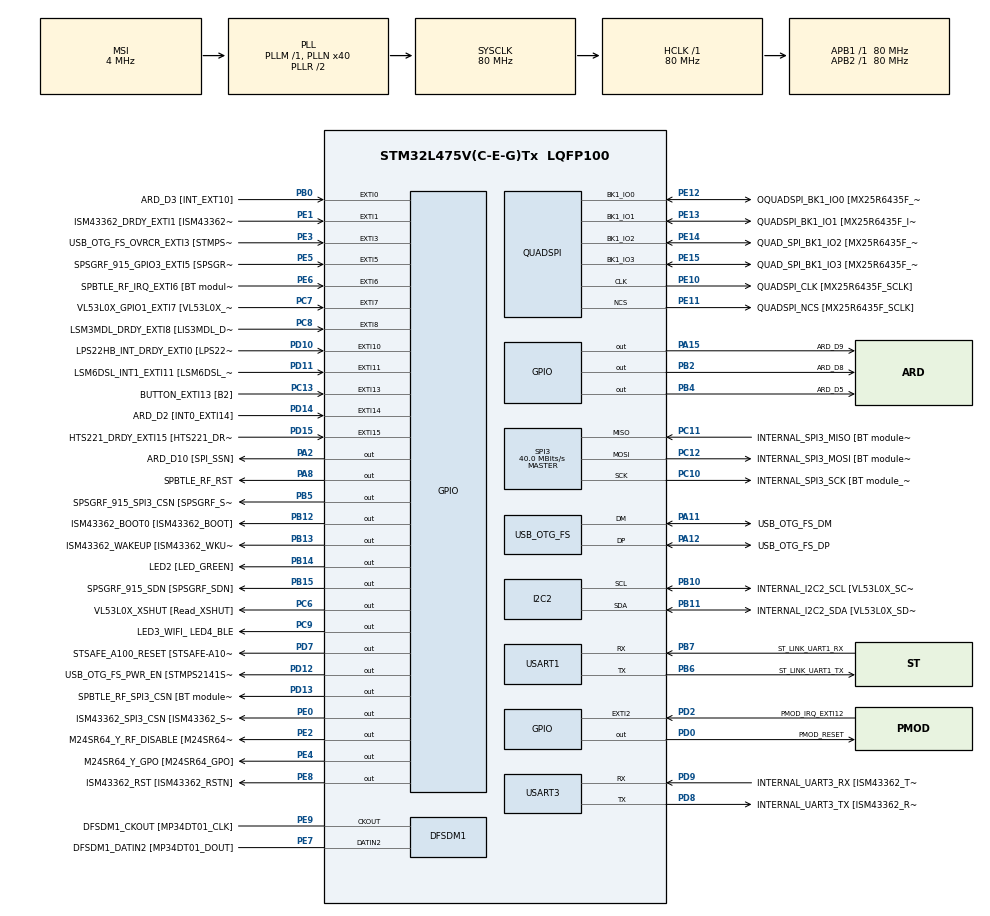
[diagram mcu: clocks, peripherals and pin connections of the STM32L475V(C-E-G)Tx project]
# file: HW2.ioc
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Mcu.Family=STM32L4
Mcu.Name=STM32L475V(C-E-G)Tx
Mcu.Package=LQFP100
NVIC.EXTI15_10_IRQn=true\:0\:0\:false\:false\:true\:true\:true\:true
NVIC.EXTI9_5_IRQn=true\:0\:0\:false\:false\:true\:true\:true\:true
NVIC.PriorityGroup=NVIC_PRIORITYGROUP_4
PA0.GPIO_Label=ARD_D1 [UART4_TX]
PA0.Signal=UART4_TX
PA1.GPIO_Label=ARD_D0 [UART4_RX]
PA1.Signal=UART4_RX
PA10.GPIO_Label=USB_OTG_FS_ID
PA10.Signal=USB_OTG_FS_ID
PA11.GPIO_Label=USB_OTG_FS_DM
PA11.Mode=Device_Only
PA11.Signal=USB_OTG_FS_DM
PA12.GPIO_Label=USB_OTG_FS_DP
PA12.Mode=Device_Only
PA12.Signal=USB_OTG_FS_DP
PA13\ (JTMS-SWDIO).GPIO_Label=SYS_JTMS_SWDIO
PA13\ (JTMS-SWDIO).Mode=Serial_Wire
PA13\ (JTMS-SWDIO).Signal=SYS_JTMS-SWDIO
PA14\ (JTCK-SWCLK).GPIO_Label=SYS_JTCK_SWCLK
PA14\ (JTCK-SWCLK).Mode=Serial_Wire
PA14\ (JTCK-SWCLK).Signal=SYS_JTCK-SWCLK
PA15\ (JTDI).GPIO_Label=ARD_D9
PA15\ (JTDI).Signal=GPIO_Output
PA2.GPIO_Label=ARD_D10 [SPI_SSN]
PA2.Signal=GPIO_Output
PA3.GPIO_Label=ARD_D4
PA3.Signal=S_TIM2_CH4
PA4.GPIO_Label=ARD_D7
PA4.Signal=ADCx_IN9
PA5.GPIO_Label=ARD_D13 [SPI1_SCK]
PA5.Signal=SPI1_SCK
PA6.GPIO_Label=ARD_D12 [SPI1_MISO]
PA6.Signal=SPI1_MISO
PA7.GPIO_Label=ARD_D11 [SPI1_MOSI]
PA7.Signal=SPI1_MOSI
PA8.GPIO_Label=SPBTLE_RF_RST
PA8.Signal=GPIO_Output
PA9.GPIO_Label=USB_OTG_FS_VBUS [STMPS2141STR_OUT]
PA9.Signal=USB_OTG_FS_VBUS
PB0.GPIO_Label=ARD_D3 [INT_EXT10]
PB0.Signal=GPXTI0
PB1.GPIO_Label=ARD_D6 [ADC1_IN6]
PB1.Signal=ADCx_IN16
PB10.GPIO_Label=INTERNAL_I2C2_SCL [VL53L0X_SCL]
PB10.GPIO_Pu=GPIO_PULLUP
PB10.Mode=I2C
PB10.Signal=I2C2_SCL
PB11.GPIO_Label=INTERNAL_I2C2_SDA [VL53L0X_SDA]
PB11.GPIO_Pu=GPIO_PULLUP
PB11.Mode=I2C
PB11.Signal=I2C2_SDA
PB12.GPIO_Label=ISM43362_BOOT0 [ISM43362_BOOT]
PB12.Signal=GPIO_Output
PB13.GPIO_Label=ISM43362_WAKEUP [ISM43362_WKUP]
PB13.Signal=GPIO_Output
PB14.GPIO_Label=LED2 [LED_GREEN]
PB14.Signal=GPIO_Output
PB15.GPIO_Label=SPSGRF_915_SDN [SPSGRF_SDN]
PB15.Signal=GPIO_Output
PB2.GPIO_Label=ARD_D8
PB2.Signal=GPIO_Output
PB3\ (JTDO-TRACESWO).GPIO_Label=SYS_JTD0_SWO
PB3\ (JTDO-TRACESWO).Signal=SYS_JTDO-SWO
PB4\ (NJTRST).GPIO_Label=ARD_D5
PB4\ (NJTRST).Signal=GPIO_Output
PB5.GPIO_Label=SPSGRF_915_SPI3_CSN [SPSGRF_SPI_CS]
PB5.PinState=GPIO_PIN_SET
PB5.Signal=GPIO_Output
PB6.GPIO_Label=ST_LINK_UART1_TX
PB6.Mode=Asynchronous
PB6.Signal=USART1_TX
PB7.GPIO_Label=ST_LINK_UART1_RX
PB7.Mode=Asynchronous
PB7.Signal=USART1_RX
PB8.GPIO_Label=ARD_D15 [I2C1_SCL]
PB8.Signal=I2C1_SCL
PB9.GPIO_Label=ARD_D14 [I2C1_SDA]
PB9.Signal=I2C1_SDA
PC0.GPIO_Label=ARD_A5 [ADC]
PC0.Signal=ADCx_IN1
PC1.GPIO_Label=ARD_A4 [ADC]
PC1.Signal=ADCx_IN2
PC10.GPIO_Label=INTERNAL_SPI3_SCK [BT module_SPI_SCLK] [ISM43362_SCK]
PC10.Mode=Full_Duplex_Master
PC10.Signal=SPI3_SCK
PC11.GPIO_Label=INTERNAL_SPI3_MISO [BT module_SPI_MISO] [ISM43362_MISO]
PC11.Mode=Full_Duplex_Master
PC11.Signal=SPI3_MISO
PC12.GPIO_Label=INTERNAL_SPI3_MOSI [BT module_SPI_MOSI] [ISM43362_MOSI]
PC12.Mode=Full_Duplex_Master
PC12.Signal=SPI3_MOSI
PC13.GPIO_Label=BUTTON_EXTI13 [B2]
PC13.GPIO_ModeDefaultEXTI=GPIO_MODE_IT_FALLING
PC13.Signal=GPXTI13
PC14-OSC32_IN\ (PC14).Mode=LSE-External-Oscillator
PC14-OSC32_IN\ (PC14).Signal=RCC_OSC32_IN
PC15-OSC32_OUT\ (PC15).Mode=LSE-External-Oscillator
PC15-OSC32_OUT\ (PC15).Signal=RCC_OSC32_OUT
PC2.GPIO_Label=ARD_A3 [ADC]
PC2.Signal=ADCx_IN3
PC3.GPIO_Label=ARD_A2 [ADC]
PC3.Signal=ADCx_IN4
PC4.GPIO_Label=ARD_A1 [ADC]
PC4.Signal=ADCx_IN13
PC5.GPIO_Label=ARD_A0 [ADC]
PC5.Signal=ADCx_IN14
PC6.GPIO_Label=VL53L0X_XSHUT [Read_XSHUT]
PC6.Signal=GPIO_Output
PC7.GPIO_Label=VL53L0X_GPIO1_EXTI7 [VL53L0X_GPIO1]
PC7.Signal=GPXTI7
PC8.GPIO_Label=LSM3MDL_DRDY_EXTI8 [LIS3MDL_DRDY]
PC8.Signal=GPXTI8
PC9.GPIO_Label=LED3_WIFI_ LED4_BLE
PC9.Signal=GPIO_Output
PD0.GPIO_Label=PMOD_RESET
PD0.Signal=GPIO_Output
PD1.GPIO_Label=PMOD_SPI2_SCK
PD1.Signal=SPI2_SCK
PD10.GPIO_Label=LPS22HB_INT_DRDY_EXTI0 [LPS22HB_INT_DRDY] 
PD10.Signal=GPXTI10
PD11.GPIO_Label=LSM6DSL_INT1_EXTI11 [LSM6DSL_INT1]
PD11.Signal=GPXTI11
PD12.GPIO_Label=USB_OTG_FS_PWR_EN [STMPS2141STR_EN]
PD12.Signal=GPIO_Output
PD13.GPIO_Label=SPBTLE_RF_SPI3_CSN [BT module_SPI_CS]
PD13.PinState=GPIO_PIN_SET
PD13.Signal=GPIO_Output
PD14.GPIO_Label=ARD_D2 [INT0_EXTI14]
PD14.Signal=GPXTI14
PD15.GPIO_Label=HTS221_DRDY_EXTI15 [HTS221_DRDY]
PD15.Signal=GPXTI15
PD2.GPIO_Label=PMOD_IRQ_EXTI12
PD2.Signal=GPXTI2
PD3.GPIO_Label=PMOD_UART2_CTS
PD3.Signal=USART2_CTS
PD4.GPIO_Label=PMOD_UART2_RTS
PD4.Signal=USART2_RTS
PD5.GPIO_Label=PMOD_UART2_TX
PD5.Signal=USART2_TX
PD6.GPIO_Label=PMOD_UART2_RX
PD6.Signal=USART2_RX
PD7.GPIO_Label=STSAFE_A100_RESET [STSAFE-A100_RESET]
PD7.Signal=GPIO_Output
PD8.GPIO_Label=INTERNAL_UART3_TX [ISM43362_RX]
PD8.Mode=Asynchronous
PD8.Signal=USART3_TX
PD9.GPIO_Label=INTERNAL_UART3_RX [ISM43362_TX]
PD9.Mode=Asynchronous
PD9.Signal=USART3_RX
PE0.GPIO_Label=ISM43362_SPI3_CSN [ISM43362_SSN]
PE0.PinState=GPIO_PIN_SET
PE0.Signal=GPIO_Output
PE1.GPIO_Label=ISM43362_DRDY_EXTI1 [ISM43362_DATARDY]
PE1.Signal=GPXTI1
PE10.GPIO_Label=QUADSPI_CLK [MX25R6435F_SCLK]
PE10.Mode=Single Bank
PE10.Signal=QUADSPI_CLK
PE11.GPIO_Label=QUADSPI_NCS [MX25R6435F_SCLK]
PE11.Mode=Single Bank
PE11.Signal=QUADSPI_NCS
PE12.GPIO_Label=OQUADSPI_BK1_IO0 [MX25R6435F_IO0]
PE12.Mode=Single Bank
PE12.Signal=QUADSPI_BK1_IO0
PE13.GPIO_Label=QUADSPI_BK1_IO1 [MX25R6435F_IO1]
PE13.Mode=Single Bank
PE13.Signal=QUADSPI_BK1_IO1
PE14.GPIO_Label=QUAD_SPI_BK1_IO2 [MX25R6435F_IO2]
PE14.Mode=Single Bank
PE14.Signal=QUADSPI_BK1_IO2
PE15.GPIO_Label=QUAD_SPI_BK1_IO3 [MX25R6435F_IO3]
PE15.Mode=Single Bank
PE15.Signal=QUADSPI_BK1_IO3
PE2.GPIO_Label=M24SR64_Y_RF_DISABLE [M24SR64_RFDIS]
PE2.Signal=GPIO_Output
PE3.GPIO_Label=USB_OTG_FS_OVRCR_EXTI3 [STMPS2141STR_FAULT]
PE3.Signal=GPXTI3
PE4.GPIO_Label=M24SR64_Y_GPO [M24SR64_GPO]
PE4.Signal=GPIO_Output
PE5.GPIO_Label=SPSGRF_915_GPIO3_EXTI5 [SPSGRF_GPIO_3]
PE5.Signal=GPXTI5
PE6.GPIO_Label=SPBTLE_RF_IRQ_EXTI6 [BT module_SPI_IRQ]
PE6.Signal=GPXTI6
PE7.GPIO_Label=DFSDM1_DATIN2 [MP34DT01_DOUT]
PE7.Signal=S_DATAIN2DFSDM1
PE8.GPIO_Label=ISM43362_RST [ISM43362_RSTN]
PE8.Signal=GPIO_Output
PE9.GPIO_Label=DFSDM1_CKOUT [MP34DT01_CLK]
PE9.Signal=S_CKOUTDFSDM1
ProjectManager.HeapSize=0x200
ProjectManager.StackSize=0x400
ProjectManager.TargetToolchain=STM32CubeIDE
QUADSPI.ClockPrescaler=2
QUADSPI.FifoThreshold=4
QUADSPI.FlashSize=23
QUADSPI.SampleShifting=QSPI_SAMPLE_SHIFTING_HALFCYCLE
RCC.ADCFreq_Value=48000000
RCC.AHBFreq_Value=80000000
RCC.APB1Freq_Value=80000000
RCC.APB1TimFreq_Value=80000000
RCC.APB2Freq_Value=80000000
RCC.APB2TimFreq_Value=80000000
RCC.CortexFreq_Value=80000000
RCC.HCLKFreq_Value=80000000
RCC.HSE_VALUE=8000000
RCC.HSI_VALUE=16000000
RCC.MSI_VALUE=4000000
RCC.PLLN=40
RCC.PLLSAI1N=24
RCC.SYSCLKFreq_VALUE=80000000
RCC.SYSCLKSource=RCC_SYSCLKSOURCE_PLLCLK
RCC.USBFreq_Value=48000000
RCC.VCOOutputFreq_Value=160000000
SH.ADCx_IN1.0=ADC1_IN1
SH.ADCx_IN13.0=ADC1_IN13
SH.ADCx_IN14.0=ADC1_IN14
SH.ADCx_IN16.0=ADC1_IN16
SH.ADCx_IN2.0=ADC1_IN2
SH.ADCx_IN3.0=ADC1_IN3
SH.ADCx_IN4.0=ADC1_IN4
SH.ADCx_IN9.0=ADC1_IN9
SH.S_CKOUTDFSDM1.0=DFSDM1_CKOUT,CKOUT
SH.S_CKOUTDFSDM1.1=DFSDM1_CKOUT,PDM_SPI_Input_from_ch12_and_Internal_Clock
SH.S_DATAIN2DFSDM1.0=DFSDM1_DATIN2,PDM_SPI_Input_from_ch12_and_Internal_Clock
SH.S_TIM2_CH4.0=TIM2_CH4
SPI3.CalculateBaudRate=40.0 MBits/s
SPI3.Direction=SPI_DIRECTION_2LINES
SPI3.Mode=SPI_MODE_MASTER
SPI3.VirtualType=VM_MASTER
USART1.VirtualMode-Asynchronous=VM_ASYNC
USART3.VirtualMode-Asynchronous=VM_ASYNC
USB_OTG_FS.VirtualMode=Device_Only
board=B-L475E-IOT01A2

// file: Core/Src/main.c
/* USER CODE BEGIN Header */
/**
  ******************************************************************************
  * @file           : main.c
  * @brief          : Main program body
  ******************************************************************************
  * @attention
  *
  * Copyright (c) 2023 STMicroelectronics.
  * All rights reserved.
  *
  * This software is licensed under terms that can be found in the LICENSE file
  * in the root directory of this software component.
  * If no LICENSE file comes with this software, it is provided AS-IS.
  *
  ******************************************************************************
  */
/* USER CODE END Header */
#include "main.h"

/* USER CODE BEGIN Includes */
#include <stdio.h>
#include <string.h>
/* USER CODE END Includes */

DFSDM_Channel_HandleTypeDef hdfsdm1_channel1;

I2C_HandleTypeDef hi2c2;

QSPI_HandleTypeDef hqspi;

SPI_HandleTypeDef hspi3;

UART_HandleTypeDef huart1;
UART_HandleTypeDef huart3;

PCD_HandleTypeDef hpcd_USB_OTG_FS;

/* USER CODE BEGIN PV */
uint8_t rx_flag = 0;
char in[1] = {0};
/* USER CODE END PV */

void SystemClock_Config(void);
static void MX_GPIO_Init(void);
static void MX_DFSDM1_Init(void);
static void MX_I2C2_Init(void);
static void MX_QUADSPI_Init(void);
static void MX_SPI3_Init(void);
static void MX_USART1_UART_Init(void);
static void MX_USART3_UART_Init(void);
static void MX_USB_OTG_FS_PCD_Init(void);

/* USER CODE BEGIN 0 */

void logMsg(UART_HandleTypeDef *huart, char _out[])
{
	HAL_UART_Transmit(&huart1, (uint8_t*) _out, strlen(_out), timeout);
}

void logGetMsg(UART_HandleTypeDef *huart)
{
	HAL_UART_Receive(&huart1, (uint8_t*) in, 1, timeout);
}

/* USER CODE END 0 */

int main(void)
{

  /* MCU Configuration--------------------------------------------------------*/

  /* Reset of all peripherals, Initializes the Flash interface and the Systick. */
  HAL_Init();

  /* Configure the system clock */
  SystemClock_Config();

  /* Initialize all configured peripherals */
  MX_GPIO_Init();
  MX_DFSDM1_Init();
  MX_I2C2_Init();
  MX_QUADSPI_Init();
  MX_SPI3_Init();
  MX_USART1_UART_Init();
  MX_USART3_UART_Init();
  MX_USB_OTG_FS_PCD_Init();
  /* USER CODE BEGIN 2 */
  logMsg(&huart1, "welcome to Embedded controller programming \r\n");

  logMsg(&huart1, "Enter g for toggling Green LED \r\n");

  logMsg(&huart1, "Enter b for toggling Blue LED \r\n");

  logMsg(&huart1, "Enter t to change timeout value to 1 ms \r\n");

  /* USER CODE END 2 */

  /* Infinite loop */
  while (1)
  {

    /* USER CODE BEGIN 3 */
	logGetMsg(&huart1);
	char buf[100];

	if(in[0] == 'g')
	{
		snprintf(buf, sizeof(buf), "Received char %c\r\n", in[0]);
		logMsg(&huart1, buf);
		HAL_GPIO_TogglePin(LED2_GPIO_Port, LED2_Pin);
		// HAL_Delay(1000);
		HAL_Delay(10);
	}
	else if(in[0] == 'b')
	{
		snprintf(buf, sizeof(buf), "Received char %c\r\n", in[0]);
		logMsg(&huart1, buf);
		HAL_GPIO_TogglePin(LED3_WIFI__LED4_BLE_GPIO_Port, LED3_WIFI__LED4_BLE_Pin);
		// HAL_Delay(1000);
		HAL_Delay(10);
	}
	else if(in[0] == 't')
	{
		snprintf(buf, sizeof(buf), "Received char %c\r\n", in[0]);
		logMsg(&huart1, buf);
		timeout = 1;
	}
	else
	{
		if(in[0] != 0)
			logMsg(&huart1, "unknown character received\r\n");
	}
	// Reset it to 0
	in[0] = 0;
  }
  /* USER CODE END 3 */
}

void SystemClock_Config(void)
{
  RCC_OscInitTypeDef RCC_OscInitStruct = {0};
  RCC_ClkInitTypeDef RCC_ClkInitStruct = {0};

  /** Configure the main internal regulator output voltage
  */
  if (HAL_PWREx_ControlVoltageScaling(PWR_REGULATOR_VOLTAGE_SCALE1) != HAL_OK)
  {
    Error_Handler();
  }

  /** Configure LSE Drive Capability
  */
  HAL_PWR_EnableBkUpAccess();
  __HAL_RCC_LSEDRIVE_CONFIG(RCC_LSEDRIVE_LOW);

  /** Initializes the RCC Oscillators according to the specified parameters
  * in the RCC_OscInitTypeDef structure.
  */
  RCC_OscInitStruct.OscillatorType = RCC_OSCILLATORTYPE_LSE|RCC_OSCILLATORTYPE_MSI;
  RCC_OscInitStruct.LSEState = RCC_LSE_ON;
  RCC_OscInitStruct.MSIState = RCC_MSI_ON;
  RCC_OscInitStruct.MSICalibrationValue = 0;
  RCC_OscInitStruct.MSIClockRange = RCC_MSIRANGE_6;
  RCC_OscInitStruct.PLL.PLLState = RCC_PLL_ON;
  RCC_OscInitStruct.PLL.PLLSource = RCC_PLLSOURCE_MSI;
  RCC_OscInitStruct.PLL.PLLM = 1;
  RCC_OscInitStruct.PLL.PLLN = 40;
  RCC_OscInitStruct.PLL.PLLP = RCC_PLLP_DIV7;
  RCC_OscInitStruct.PLL.PLLQ = RCC_PLLQ_DIV2;
  RCC_OscInitStruct.PLL.PLLR = RCC_PLLR_DIV2;
  if (HAL_RCC_OscConfig(&RCC_OscInitStruct) != HAL_OK)
  {
    Error_Handler();
  }

  /** Initializes the CPU, AHB and APB buses clocks
  */
  RCC_ClkInitStruct.ClockType = RCC_CLOCKTYPE_HCLK|RCC_CLOCKTYPE_SYSCLK
                              |RCC_CLOCKTYPE_PCLK1|RCC_CLOCKTYPE_PCLK2;
  RCC_ClkInitStruct.SYSCLKSource = RCC_SYSCLKSOURCE_PLLCLK;
  RCC_ClkInitStruct.AHBCLKDivider = RCC_SYSCLK_DIV1;
  RCC_ClkInitStruct.APB1CLKDivider = RCC_HCLK_DIV1;
  RCC_ClkInitStruct.APB2CLKDivider = RCC_HCLK_DIV1;

  if (HAL_RCC_ClockConfig(&RCC_ClkInitStruct, FLASH_LATENCY_4) != HAL_OK)
  {
    Error_Handler();
  }

  /** Enable MSI Auto calibration
  */
  HAL_RCCEx_EnableMSIPLLMode();
}

static void MX_DFSDM1_Init(void)
{

  hdfsdm1_channel1.Instance = DFSDM1_Channel1;
  hdfsdm1_channel1.Init.OutputClock.Activation = ENABLE;
  hdfsdm1_channel1.Init.OutputClock.Selection = DFSDM_CHANNEL_OUTPUT_CLOCK_SYSTEM;
  hdfsdm1_channel1.Init.OutputClock.Divider = 2;
  hdfsdm1_channel1.Init.Input.Multiplexer = DFSDM_CHANNEL_EXTERNAL_INPUTS;
  hdfsdm1_channel1.Init.Input.DataPacking = DFSDM_CHANNEL_STANDARD_MODE;
  hdfsdm1_channel1.Init.Input.Pins = DFSDM_CHANNEL_FOLLOWING_CHANNEL_PINS;
  hdfsdm1_channel1.Init.SerialInterface.Type = DFSDM_CHANNEL_SPI_RISING;
  hdfsdm1_channel1.Init.SerialInterface.SpiClock = DFSDM_CHANNEL_SPI_CLOCK_INTERNAL;
  hdfsdm1_channel1.Init.Awd.FilterOrder = DFSDM_CHANNEL_FASTSINC_ORDER;
  hdfsdm1_channel1.Init.Awd.Oversampling = 1;
  hdfsdm1_channel1.Init.Offset = 0;
  hdfsdm1_channel1.Init.RightBitShift = 0x00;
  if (HAL_DFSDM_ChannelInit(&hdfsdm1_channel1) != HAL_OK)
  {
    Error_Handler();
  }

}

static void MX_I2C2_Init(void)
{

  hi2c2.Instance = I2C2;
  hi2c2.Init.Timing = 0x00000E14;
  hi2c2.Init.OwnAddress1 = 0;
  hi2c2.Init.AddressingMode = I2C_ADDRESSINGMODE_7BIT;
  hi2c2.Init.DualAddressMode = I2C_DUALADDRESS_DISABLE;
  hi2c2.Init.OwnAddress2 = 0;
  hi2c2.Init.OwnAddress2Masks = I2C_OA2_NOMASK;
  hi2c2.Init.GeneralCallMode = I2C_GENERALCALL_DISABLE;
  hi2c2.Init.NoStretchMode = I2C_NOSTRETCH_DISABLE;
  if (HAL_I2C_Init(&hi2c2) != HAL_OK)
  {
    Error_Handler();
  }

  /** Configure Analogue filter
  */
  if (HAL_I2CEx_ConfigAnalogFilter(&hi2c2, I2C_ANALOGFILTER_ENABLE) != HAL_OK)
  {
    Error_Handler();
  }

  /** Configure Digital filter
  */
  if (HAL_I2CEx_ConfigDigitalFilter(&hi2c2, 0) != HAL_OK)
  {
    Error_Handler();
  }

}

static void MX_QUADSPI_Init(void)
{

  /* QUADSPI parameter configuration*/
  hqspi.Instance = QUADSPI;
  hqspi.Init.ClockPrescaler = 2;
  hqspi.Init.FifoThreshold = 4;
  hqspi.Init.SampleShifting = QSPI_SAMPLE_SHIFTING_HALFCYCLE;
  hqspi.Init.FlashSize = 23;
  hqspi.Init.ChipSelectHighTime = QSPI_CS_HIGH_TIME_1_CYCLE;
  hqspi.Init.ClockMode = QSPI_CLOCK_MODE_0;
  if (HAL_QSPI_Init(&hqspi) != HAL_OK)
  {
    Error_Handler();
  }

}

static void MX_SPI3_Init(void)
{

  /* SPI3 parameter configuration*/
  hspi3.Instance = SPI3;
  hspi3.Init.Mode = SPI_MODE_MASTER;
  hspi3.Init.Direction = SPI_DIRECTION_2LINES;
  hspi3.Init.DataSize = SPI_DATASIZE_4BIT;
  hspi3.Init.CLKPolarity = SPI_POLARITY_LOW;
  hspi3.Init.CLKPhase = SPI_PHASE_1EDGE;
  hspi3.Init.NSS = SPI_NSS_SOFT;
  hspi3.Init.BaudRatePrescaler = SPI_BAUDRATEPRESCALER_2;
  hspi3.Init.FirstBit = SPI_FIRSTBIT_MSB;
  hspi3.Init.TIMode = SPI_TIMODE_DISABLE;
  hspi3.Init.CRCCalculation = SPI_CRCCALCULATION_DISABLE;
  hspi3.Init.CRCPolynomial = 7;
  hspi3.Init.CRCLength = SPI_CRC_LENGTH_DATASIZE;
  hspi3.Init.NSSPMode = SPI_NSS_PULSE_ENABLE;
  if (HAL_SPI_Init(&hspi3) != HAL_OK)
  {
    Error_Handler();
  }

}

static void MX_USART1_UART_Init(void)
{

  huart1.Instance = USART1;
  huart1.Init.BaudRate = 115200;
  huart1.Init.WordLength = UART_WORDLENGTH_8B;
  huart1.Init.StopBits = UART_STOPBITS_1;
  huart1.Init.Parity = UART_PARITY_NONE;
  huart1.Init.Mode = UART_MODE_TX_RX;
  huart1.Init.HwFlowCtl = UART_HWCONTROL_NONE;
  huart1.Init.OverSampling = UART_OVERSAMPLING_16;
  huart1.Init.OneBitSampling = UART_ONE_BIT_SAMPLE_DISABLE;
  huart1.AdvancedInit.AdvFeatureInit = UART_ADVFEATURE_NO_INIT;
  if (HAL_UART_Init(&huart1) != HAL_OK)
  {
    Error_Handler();
  }

}

static void MX_USART3_UART_Init(void)
{

  huart3.Instance = USART3;
  huart3.Init.BaudRate = 115200;
  huart3.Init.WordLength = UART_WORDLENGTH_8B;
  huart3.Init.StopBits = UART_STOPBITS_1;
  huart3.Init.Parity = UART_PARITY_NONE;
  huart3.Init.Mode = UART_MODE_TX_RX;
  huart3.Init.HwFlowCtl = UART_HWCONTROL_NONE;
  huart3.Init.OverSampling = UART_OVERSAMPLING_16;
  huart3.Init.OneBitSampling = UART_ONE_BIT_SAMPLE_DISABLE;
  huart3.AdvancedInit.AdvFeatureInit = UART_ADVFEATURE_NO_INIT;
  if (HAL_UART_Init(&huart3) != HAL_OK)
  {
    Error_Handler();
  }

}

static void MX_USB_OTG_FS_PCD_Init(void)
{

  hpcd_USB_OTG_FS.Instance = USB_OTG_FS;
  hpcd_USB_OTG_FS.Init.dev_endpoints = 6;
  hpcd_USB_OTG_FS.Init.speed = PCD_SPEED_FULL;
  hpcd_USB_OTG_FS.Init.phy_itface = PCD_PHY_EMBEDDED;
  hpcd_USB_OTG_FS.Init.Sof_enable = DISABLE;
  hpcd_USB_OTG_FS.Init.low_power_enable = DISABLE;
  hpcd_USB_OTG_FS.Init.lpm_enable = DISABLE;
  hpcd_USB_OTG_FS.Init.battery_charging_enable = DISABLE;
  hpcd_USB_OTG_FS.Init.use_dedicated_ep1 = DISABLE;
  hpcd_USB_OTG_FS.Init.vbus_sensing_enable = DISABLE;
  if (HAL_PCD_Init(&hpcd_USB_OTG_FS) != HAL_OK)
  {
    Error_Handler();
  }

}

static void MX_GPIO_Init(void)
{
  GPIO_InitTypeDef GPIO_InitStruct = {0};

  /* GPIO Ports Clock Enable */
  __HAL_RCC_GPIOE_CLK_ENABLE();
  __HAL_RCC_GPIOC_CLK_ENABLE();
  __HAL_RCC_GPIOA_CLK_ENABLE();
  __HAL_RCC_GPIOB_CLK_ENABLE();
  __HAL_RCC_GPIOD_CLK_ENABLE();

  /*Configure GPIO pin Output Level */
  HAL_GPIO_WritePin(GPIOE, M24SR64_Y_RF_DISABLE_Pin|M24SR64_Y_GPO_Pin|ISM43362_RST_Pin, GPIO_PIN_RESET);

  /*Configure GPIO pin Output Level */
  HAL_GPIO_WritePin(GPIOA, ARD_D10_Pin|SPBTLE_RF_RST_Pin|ARD_D9_Pin, GPIO_PIN_RESET);

  /*Configure GPIO pin Output Level */
  HAL_GPIO_WritePin(GPIOB, ARD_D8_Pin|ISM43362_BOOT0_Pin|ISM43362_WAKEUP_Pin|LED2_Pin
                          |SPSGRF_915_SDN_Pin|ARD_D5_Pin, GPIO_PIN_RESET);

  /*Configure GPIO pin Output Level */
  HAL_GPIO_WritePin(GPIOD, USB_OTG_FS_PWR_EN_Pin|PMOD_RESET_Pin|STSAFE_A100_RESET_Pin, GPIO_PIN_RESET);

  /*Configure GPIO pin Output Level */
  HAL_GPIO_WritePin(SPBTLE_RF_SPI3_CSN_GPIO_Port, SPBTLE_RF_SPI3_CSN_Pin, GPIO_PIN_SET);

  /*Configure GPIO pin Output Level */
  HAL_GPIO_WritePin(GPIOC, VL53L0X_XSHUT_Pin|LED3_WIFI__LED4_BLE_Pin, GPIO_PIN_RESET);

  /*Configure GPIO pin Output Level */
  HAL_GPIO_WritePin(SPSGRF_915_SPI3_CSN_GPIO_Port, SPSGRF_915_SPI3_CSN_Pin, GPIO_PIN_SET);

  /*Configure GPIO pin Output Level */
  HAL_GPIO_WritePin(ISM43362_SPI3_CSN_GPIO_Port, ISM43362_SPI3_CSN_Pin, GPIO_PIN_SET);

  /*Configure GPIO pins : M24SR64_Y_RF_DISABLE_Pin M24SR64_Y_GPO_Pin ISM43362_RST_Pin ISM43362_SPI3_CSN_Pin */
  GPIO_InitStruct.Pin = M24SR64_Y_RF_DISABLE_Pin|M24SR64_Y_GPO_Pin|ISM43362_RST_Pin|ISM43362_SPI3_CSN_Pin;
  GPIO_InitStruct.Mode = GPIO_MODE_OUTPUT_PP;
  GPIO_InitStruct.Pull = GPIO_NOPULL;
  GPIO_InitStruct.Speed = GPIO_SPEED_FREQ_LOW;
  HAL_GPIO_Init(GPIOE, &GPIO_InitStruct);

  /*Configure GPIO pins : USB_OTG_FS_OVRCR_EXTI3_Pin SPSGRF_915_GPIO3_EXTI5_Pin SPBTLE_RF_IRQ_EXTI6_Pin ISM43362_DRDY_EXTI1_Pin */
  GPIO_InitStruct.Pin = USB_OTG_FS_OVRCR_EXTI3_Pin|SPSGRF_915_GPIO3_EXTI5_Pin|SPBTLE_RF_IRQ_EXTI6_Pin|ISM43362_DRDY_EXTI1_Pin;
  GPIO_InitStruct.Mode = GPIO_MODE_IT_RISING;
  GPIO_InitStruct.Pull = GPIO_NOPULL;
  HAL_GPIO_Init(GPIOE, &GPIO_InitStruct);

  /*Configure GPIO pin : BUTTON_EXTI13_Pin */
  GPIO_InitStruct.Pin = BUTTON_EXTI13_Pin;
  GPIO_InitStruct.Mode = GPIO_MODE_IT_FALLING;
  GPIO_InitStruct.Pull = GPIO_NOPULL;
  HAL_GPIO_Init(BUTTON_EXTI13_GPIO_Port, &GPIO_InitStruct);

  /*Configure GPIO pins : ARD_A5_Pin ARD_A4_Pin ARD_A3_Pin ARD_A2_Pin
                           ARD_A1_Pin ARD_A0_Pin */
  GPIO_InitStruct.Pin = ARD_A5_Pin|ARD_A4_Pin|ARD_A3_Pin|ARD_A2_Pin
                          |ARD_A1_Pin|ARD_A0_Pin;
  GPIO_InitStruct.Mode = GPIO_MODE_ANALOG_ADC_CONTROL;
  GPIO_InitStruct.Pull = GPIO_NOPULL;
  HAL_GPIO_Init(GPIOC, &GPIO_InitStruct);

  /*Configure GPIO pins : ARD_D1_Pin ARD_D0_Pin */
  GPIO_InitStruct.Pin = ARD_D1_Pin|ARD_D0_Pin;
  GPIO_InitStruct.Mode = GPIO_MODE_AF_PP;
  GPIO_InitStruct.Pull = GPIO_NOPULL;
  GPIO_InitStruct.Speed = GPIO_SPEED_FREQ_VERY_HIGH;
  GPIO_InitStruct.Alternate = GPIO_AF8_UART4;
  HAL_GPIO_Init(GPIOA, &GPIO_InitStruct);

  /*Configure GPIO pins : ARD_D10_Pin SPBTLE_RF_RST_Pin ARD_D9_Pin */
  GPIO_InitStruct.Pin = ARD_D10_Pin|SPBTLE_RF_RST_Pin|ARD_D9_Pin;
  GPIO_InitStruct.Mode = GPIO_MODE_OUTPUT_PP;
  GPIO_InitStruct.Pull = GPIO_NOPULL;
  GPIO_InitStruct.Speed = GPIO_SPEED_FREQ_LOW;
  HAL_GPIO_Init(GPIOA, &GPIO_InitStruct);

  /*Configure GPIO pin : ARD_D4_Pin */
  GPIO_InitStruct.Pin = ARD_D4_Pin;
  GPIO_InitStruct.Mode = GPIO_MODE_AF_PP;
  GPIO_InitStruct.Pull = GPIO_NOPULL;
  GPIO_InitStruct.Speed = GPIO_SPEED_FREQ_LOW;
  GPIO_InitStruct.Alternate = GPIO_AF1_TIM2;
  HAL_GPIO_Init(ARD_D4_GPIO_Port, &GPIO_InitStruct);

  /*Configure GPIO pin : ARD_D7_Pin */
  GPIO_InitStruct.Pin = ARD_D7_Pin;
  GPIO_InitStruct.Mode = GPIO_MODE_ANALOG_ADC_CONTROL;
  GPIO_InitStruct.Pull = GPIO_NOPULL;
  HAL_GPIO_Init(ARD_D7_GPIO_Port, &GPIO_InitStruct);

  /*Configure GPIO pins : ARD_D13_Pin ARD_D12_Pin ARD_D11_Pin */
  GPIO_InitStruct.Pin = ARD_D13_Pin|ARD_D12_Pin|ARD_D11_Pin;
  GPIO_InitStruct.Mode = GPIO_MODE_AF_PP;
  GPIO_InitStruct.Pull = GPIO_NOPULL;
  GPIO_InitStruct.Speed = GPIO_SPEED_FREQ_VERY_HIGH;
  GPIO_InitStruct.Alternate = GPIO_AF5_SPI1;
  HAL_GPIO_Init(GPIOA, &GPIO_InitStruct);

  /*Configure GPIO pin : ARD_D3_Pin */
  GPIO_InitStruct.Pin = ARD_D3_Pin;
  GPIO_InitStruct.Mode = GPIO_MODE_IT_RISING;
  GPIO_InitStruct.Pull = GPIO_NOPULL;
  HAL_GPIO_Init(ARD_D3_GPIO_Port, &GPIO_InitStruct);

  /*Configure GPIO pin : ARD_D6_Pin */
  GPIO_InitStruct.Pin = ARD_D6_Pin;
  GPIO_InitStruct.Mode = GPIO_MODE_ANALOG_ADC_CONTROL;
  GPIO_InitStruct.Pull = GPIO_NOPULL;
  HAL_GPIO_Init(ARD_D6_GPIO_Port, &GPIO_InitStruct);

  /*Configure GPIO pins : ARD_D8_Pin ISM43362_BOOT0_Pin ISM43362_WAKEUP_Pin LED2_Pin
                           SPSGRF_915_SDN_Pin ARD_D5_Pin SPSGRF_915_SPI3_CSN_Pin */
  GPIO_InitStruct.Pin = ARD_D8_Pin|ISM43362_BOOT0_Pin|ISM43362_WAKEUP_Pin|LED2_Pin
                          |SPSGRF_915_SDN_Pin|ARD_D5_Pin|SPSGRF_915_SPI3_CSN_Pin;
  GPIO_InitStruct.Mode = GPIO_MODE_OUTPUT_PP;
  GPIO_InitStruct.Pull = GPIO_NOPULL;
  GPIO_InitStruct.Speed = GPIO_SPEED_FREQ_LOW;
  HAL_GPIO_Init(GPIOB, &GPIO_InitStruct);

  /*Configure GPIO pins : LPS22HB_INT_DRDY_EXTI0_Pin LSM6DSL_INT1_EXTI11_Pin ARD_D2_Pin HTS221_DRDY_EXTI15_Pin
                           PMOD_IRQ_EXTI12_Pin */
  GPIO_InitStruct.Pin = LPS22HB_INT_DRDY_EXTI0_Pin|LSM6DSL_INT1_EXTI11_Pin|ARD_D2_Pin|HTS221_DRDY_EXTI15_Pin
                          |PMOD_IRQ_EXTI12_Pin;
  GPIO_InitStruct.Mode = GPIO_MODE_IT_RISING;
  GPIO_InitStruct.Pull = GPIO_NOPULL;
  HAL_GPIO_Init(GPIOD, &GPIO_InitStruct);

  /*Configure GPIO pins : USB_OTG_FS_PWR_EN_Pin SPBTLE_RF_SPI3_CSN_Pin PMOD_RESET_Pin STSAFE_A100_RESET_Pin */
  GPIO_InitStruct.Pin = USB_OTG_FS_PWR_EN_Pin|SPBTLE_RF_SPI3_CSN_Pin|PMOD_RESET_Pin|STSAFE_A100_RESET_Pin;
  GPIO_InitStruct.Mode = GPIO_MODE_OUTPUT_PP;
  GPIO_InitStruct.Pull = GPIO_NOPULL;
  GPIO_InitStruct.Speed = GPIO_SPEED_FREQ_LOW;
  HAL_GPIO_Init(GPIOD, &GPIO_InitStruct);

  /*Configure GPIO pins : VL53L0X_XSHUT_Pin LED3_WIFI__LED4_BLE_Pin */
  GPIO_InitStruct.Pin = VL53L0X_XSHUT_Pin|LED3_WIFI__LED4_BLE_Pin;
  GPIO_InitStruct.Mode = GPIO_MODE_OUTPUT_PP;
  GPIO_InitStruct.Pull = GPIO_NOPULL;
  GPIO_InitStruct.Speed = GPIO_SPEED_FREQ_LOW;
  HAL_GPIO_Init(GPIOC, &GPIO_InitStruct);

  /*Configure GPIO pins : VL53L0X_GPIO1_EXTI7_Pin LSM3MDL_DRDY_EXTI8_Pin */
  GPIO_InitStruct.Pin = VL53L0X_GPIO1_EXTI7_Pin|LSM3MDL_DRDY_EXTI8_Pin;
  GPIO_InitStruct.Mode = GPIO_MODE_IT_RISING;
  GPIO_InitStruct.Pull = GPIO_NOPULL;
  HAL_GPIO_Init(GPIOC, &GPIO_InitStruct);

  /*Configure GPIO pin : PMOD_SPI2_SCK_Pin */
  GPIO_InitStruct.Pin = PMOD_SPI2_SCK_Pin;
  GPIO_InitStruct.Mode = GPIO_MODE_AF_PP;
  GPIO_InitStruct.Pull = GPIO_NOPULL;
  GPIO_InitStruct.Speed = GPIO_SPEED_FREQ_VERY_HIGH;
  GPIO_InitStruct.Alternate = GPIO_AF5_SPI2;
  HAL_GPIO_Init(PMOD_SPI2_SCK_GPIO_Port, &GPIO_InitStruct);

  /*Configure GPIO pins : PMOD_UART2_CTS_Pin PMOD_UART2_RTS_Pin PMOD_UART2_TX_Pin PMOD_UART2_RX_Pin */
  GPIO_InitStruct.Pin = PMOD_UART2_CTS_Pin|PMOD_UART2_RTS_Pin|PMOD_UART2_TX_Pin|PMOD_UART2_RX_Pin;
  GPIO_InitStruct.Mode = GPIO_MODE_AF_PP;
  GPIO_InitStruct.Pull = GPIO_NOPULL;
  GPIO_InitStruct.Speed = GPIO_SPEED_FREQ_VERY_HIGH;
  GPIO_InitStruct.Alternate = GPIO_AF7_USART2;
  HAL_GPIO_Init(GPIOD, &GPIO_InitStruct);

  /*Configure GPIO pins : ARD_D15_Pin ARD_D14_Pin */
  GPIO_InitStruct.Pin = ARD_D15_Pin|ARD_D14_Pin;
  GPIO_InitStruct.Mode = GPIO_MODE_AF_OD;
  GPIO_InitStruct.Pull = GPIO_NOPULL;
  GPIO_InitStruct.Speed = GPIO_SPEED_FREQ_VERY_HIGH;
  GPIO_InitStruct.Alternate = GPIO_AF4_I2C1;
  HAL_GPIO_Init(GPIOB, &GPIO_InitStruct);

  /* EXTI interrupt init*/
  HAL_NVIC_SetPriority(EXTI9_5_IRQn, 0, 0);
  HAL_NVIC_EnableIRQ(EXTI9_5_IRQn);

  HAL_NVIC_SetPriority(EXTI15_10_IRQn, 0, 0);
  HAL_NVIC_EnableIRQ(EXTI15_10_IRQn);

}

/* USER CODE BEGIN 4 */
void HAL_UART_RxCpltCallback(UART_HandleTypeDef *huart)
{
	 if(huart1.Instance == USART1)
	 {
		 rx_flag = 1;
	 }
}
/* USER CODE END 4 */

void Error_Handler(void)
{
  __disable_irq();
  while (1)
  {
  }
}
